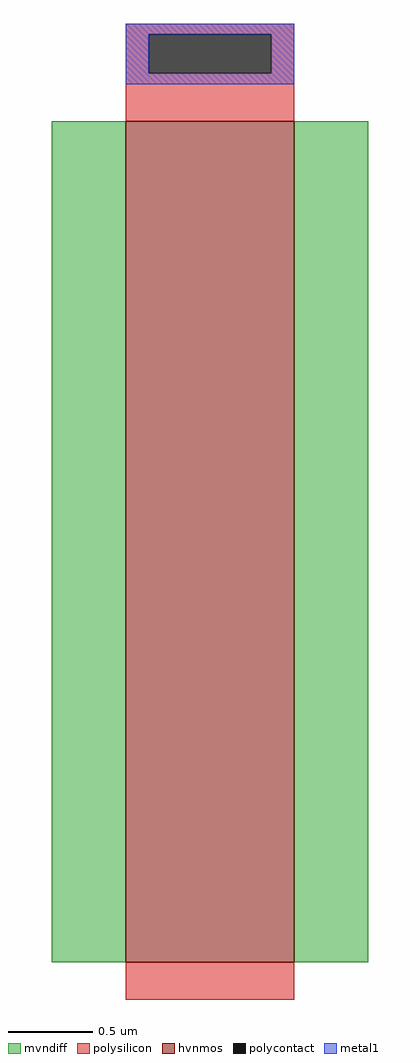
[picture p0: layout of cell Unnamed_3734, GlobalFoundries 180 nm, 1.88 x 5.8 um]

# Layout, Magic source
magic
tech gf180mcuD
magscale 1 10
<< hvnmos >>
rect 14 0 214 1000
<< mvndiff >>
rect -74 0 14 1000
rect 214 0 302 1000
<< polysilicon >>
rect 14 1103 214 1116
rect 14 1057 41 1103
rect 187 1057 214 1103
rect 14 1000 214 1057
rect 14 -44 214 0
<< polycontact >>
rect 41 1057 187 1103
<< metal1 >>
rect 14 1103 214 1116
rect 14 1057 41 1103
rect 187 1057 214 1103
rect 14 1044 214 1057
<< end >>
